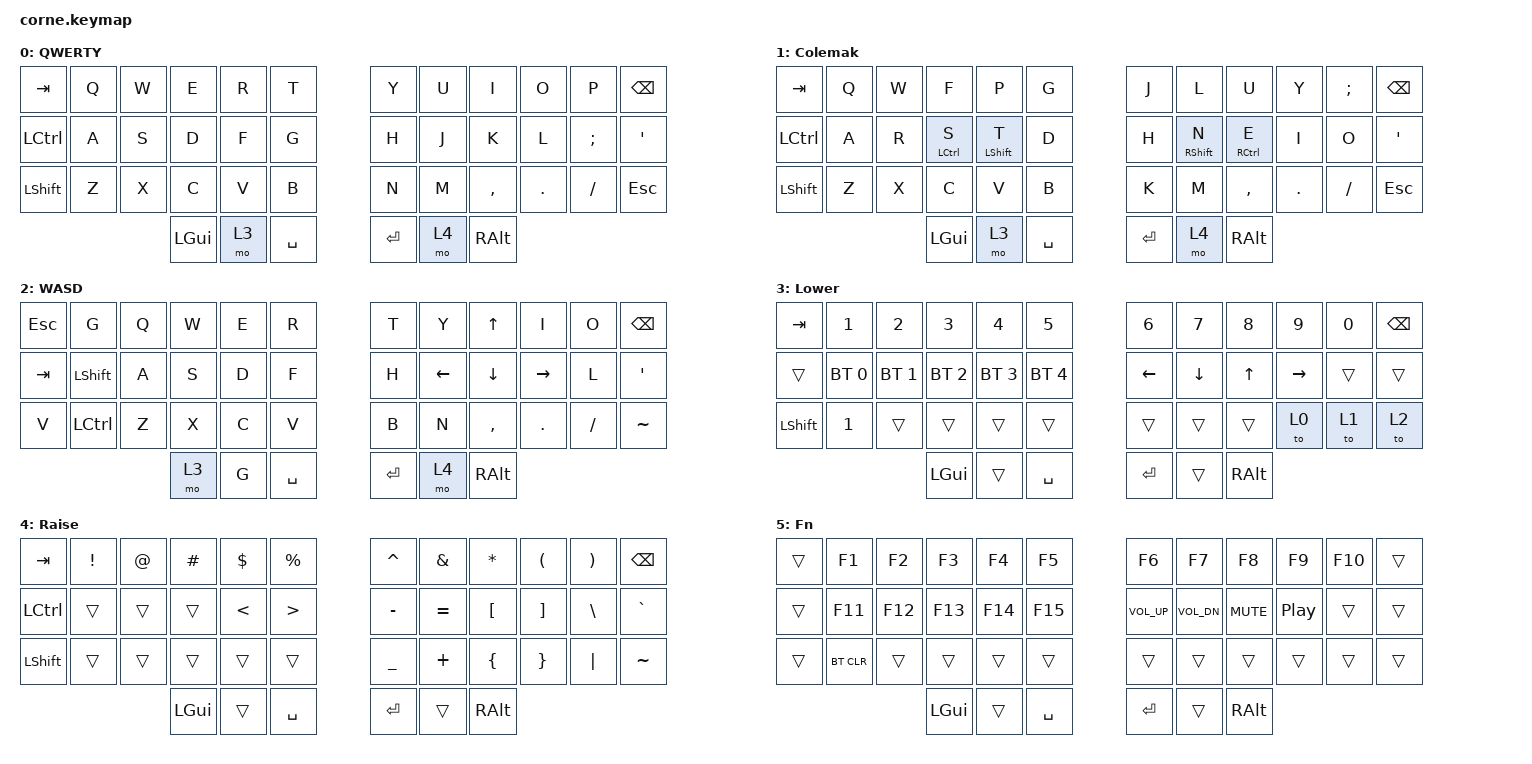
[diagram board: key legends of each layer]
/*
 * Copyright (c) 2020 The ZMK Contributors
 *
 * SPDX-License-Identifier: MIT
 */

#include <behaviors.dtsi>
#include <dt-bindings/zmk/keys.h>
#include <dt-bindings/zmk/bt.h>

/ {
        
        conditional_layers {
                compatible = "zmk,conditional-layers";
                tri_layer {
                  if-layers = <3 4>;
                  then-layer = <5>;
                };
        };    
        keymap {
                compatible = "zmk,keymap";

                default_layer {
// -----------------------------------------------------------------------------------------
// |  TAB |  Q  |  W  |  E  |  R  |  T  |   |  Y  |  U   |  I  |  O  |  P  | BKSP |
// | CTRL |  A  |  S  |  D  |  F  |  G  |   |  H  |  J   |  K  |  L  |  ;  |  '   |
// | SHFT |  Z  |  X  |  C  |  V  |  B  |   |  N  |  M   |  ,  |  .  |  /  | ESC  |
//                    | GUI | LWR | SPC |   | ENT | RSE  | ALT |
                        display-name = "QWERTY";
                        bindings = <
   &kp TAB   &kp Q &kp W &kp E &kp R &kp T   &kp Y &kp U  &kp I     &kp O   &kp P    &kp BSPC
   &kp LCTRL &kp A &kp S &kp D &kp F &kp G   &kp H &kp J  &kp K     &kp L   &kp SEMI &kp SQT
   &kp LSHFT &kp Z &kp X &kp C &kp V &kp B   &kp N &kp M  &kp COMMA &kp DOT &kp FSLH &kp ESC
                  &kp LGUI &mo 3 &kp SPACE   &kp RET &mo 4 &kp RALT
                        >;
                };

                colemak_layer {
// -----------------------------------------------------------------------------------------
// |  TAB |  Q  |  W  |  F  |  P  |  G  |   |  J  |  L  |  U  |  Y  |  ;  | BKSP |
// | CTRL |  A  |  R  |  S  |  T  |  D  |   |  H  |  N  |  E  |  I  |  O  |  '   |
// | SHFT |  Z  |  X  |  C  |  V  |  B  |   |  K  |  M  |  ,  |  .  |  /  | ESC  |
//                    | GUI | LWR | SPC |   | ENT | RSE  | ALT |
                        display-name = "Colemak";
                        bindings = <
    &kp TAB   &kp Q &kp W &kp F &kp P &kp G   &kp J &kp L  &kp U     &kp Y   &kp SEMI &kp BSPC
    &kp LCTRL &kp A &kp R &mt LCTRL S &mt LSHIFT T &kp D   &kp H &mt RSHIFT N  &mt RCTRL E     &kp I   &kp O    &kp SQT
    &kp LSHFT &kp Z &kp X &kp C &kp V &kp B   &kp K &kp M  &kp COMMA &kp DOT &kp FSLH &kp ESC
                   &kp LGUI &mo 3 &kp SPACE   &kp RET &mo 4 &kp RALT
                        >;
                };



                wasd_layer {
// -----------------------------------------------------------------------------------------
// | ESC |  G  |  Q  |  W  |  E  |  R  |  |  T  |  Y  |  UP |  I  |  O  | BKSP |
// | TAB |SHFT |  A  |  S  |  D  |  F  |  |  H  | LEFT| DOWN| RGHT|  L  |  '   |  
// |  V  |CTRL |  Z  |  X  |  C  |  V  |  |  B  |  N  |  ,  |  .  |  /  |  ~   |
//                   | LWR |  G  | SPC |  | ENT | RSE | ALT |
                        display-name = "WASD";
                        bindings = <
    &kp ESC   &kp G     &kp Q &kp W &kp E &kp R   &kp T &kp Y    &kp UP    &kp I    &kp O    &kp BSPC
    &kp TAB   &kp LSHFT &kp A &kp S &kp D &kp F   &kp H &kp LEFT &kp DOWN  &kp RIGHT &kp L    &kp SQT
    &kp V     &kp LCTRL &kp Z &kp X &kp C &kp V   &kp B &kp N    &kp COMMA &kp DOT  &kp FSLH &kp TILDE
                    &mo 3 &kp G &kp SPACE   &kp RET &mo 4 &kp RALT
                        >;
                };


                lower_layer {
// -----------------------------------------------------------------------------------------
// |  TAB |  1  |  2  |  3  |  4  |  5  |   |  6  |  7  |  8  |  9  |  0  | BKSP |
// | BTCLR| BT1 | BT2 | BT3 | BT4 | BT5 |   | LFT | DWN |  UP | RGT |     |      |
// | SHFT |     |     |     |     |     |   |     |     |     |     |     |      |
//                    | GUI |     | SPC |   | ENT |     | ALT |
                        display-name = "Lower";
                        bindings = <
   &kp TAB    &kp N1       &kp N2       &kp N3       &kp N4       &kp N5         &kp N6   &kp N7   &kp N8 &kp N9    &kp N0 &kp BSPC
   &trans &bt BT_SEL 0 &bt BT_SEL 1 &bt BT_SEL 2 &bt BT_SEL 3 &bt BT_SEL 4   &kp LEFT &kp DOWN &kp UP &kp RIGHT &trans &trans
   &kp LSHFT  &kp N1       &trans       &trans       &trans       &trans         &trans   &trans   &trans &to 0    &to 1 &to 2 
                                    &kp LGUI     &trans       &kp SPACE      &kp RET  &trans   &kp RALT
                        >;
                };

                raise_layer {
// -----------------------------------------------------------------------------------------
// |  TAB |  !  |  @  |  #  |  $  |  %  |   |  ^  |  &  |  *  |  (  |  )  | BKSP |
// | CTRL |     |     |     |  <  |  >  |   |  -  |  =  |  [  |  ]  |  \  |  `   |
// | SHFT |     |     |     |     |     |   |  _  |  +  |  {  |  }  | "|" |  ~   |
//                    | GUI |     | SPC |   | ENT |     | ALT |
                        display-name = "Raise";
                        bindings = <
   &kp  TAB  &kp EXCL &kp AT &kp HASH &kp DLLR &kp PRCNT   &kp CARET &kp AMPS  &kp ASTRK &kp LPAR &kp RPAR &kp BSPC
   &kp LCTRL &trans   &trans &trans   &kp LT   &kp GT      &kp MINUS &kp EQUAL &kp LBKT  &kp RBKT &kp BSLH &kp GRAVE
   &kp LSHFT &trans   &trans &trans   &trans   &trans      &kp UNDER &kp PLUS  &kp LBRC  &kp RBRC &kp PIPE &kp TILDE
                             &kp LGUI &trans   &kp SPACE   &kp RET   &trans    &kp RALT
                        >;
                };
                fn_layer {
// -----------------------------------------------------------------------------------------
// |    |  F1 |  F2 |  F3 |  F4 |  F5 |   |  F6   |  F7   |   F8 |  F9        | F10 |      |
// |    | F11 | F12 | F13 | F14 | F15 |   | VOL + | VOL - | MUTE | Play/Pause |     |      |        
// |    |     |     |     |     |     |   |       |       |      |            |     |      |
//                    | GUI |     | SPC |   | ENT |     | ALT |
                        display-name = "Fn";
                        bindings = <
    &trans &kp F1 &kp F2 &kp F3 &kp F4 &kp F5   &kp F6 &kp F7 &kp F8 &kp F9 &kp F10 &trans
    &trans &kp F11 &kp F12 &kp F13 &kp F14 &kp F15   &kp C_VOL_UP &kp C_VOL_DN &kp C_MUTE &kp C_PLAY_PAUSE &trans &trans
    &trans &bt BT_CLR &trans &trans &trans &trans   &trans &trans &trans &trans &trans &trans
                    &kp LGUI &trans &kp SPACE   &kp RET &trans &kp RALT
                        >;
                };
  };
};
